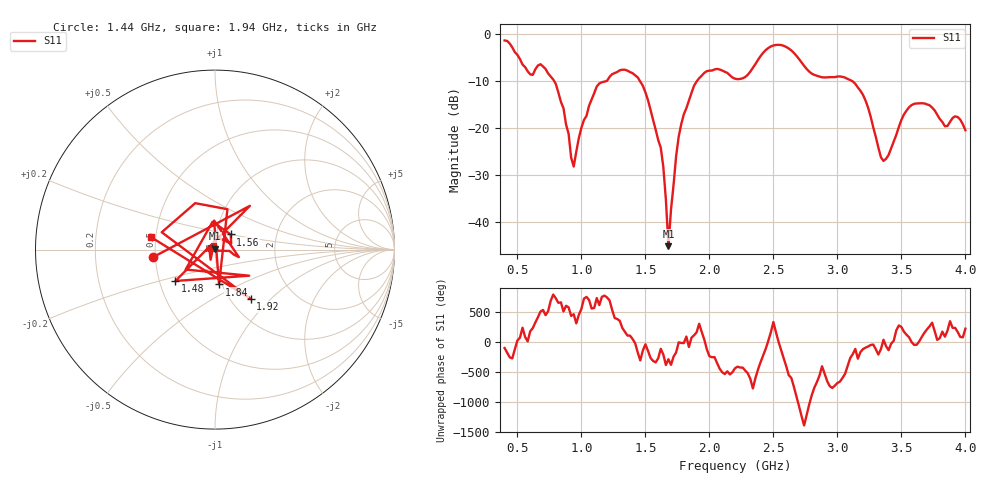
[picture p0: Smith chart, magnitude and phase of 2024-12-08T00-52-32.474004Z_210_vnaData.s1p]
!Created with skrf (http://scikit-rf.org).
# Hz S RI R 50.0
!freq ReS11 ImS11
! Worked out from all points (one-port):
!   181 points, 400 MHz to 4 GHz, reference 50 ohm
!   lowest |S11| = -45.2 dB at 1.68 GHz (marker M1), VSWR 1.01, Z = 50.2 + j0.524 ohm
!   |S11| at or under -10 dB: 786.5 MHz to 1.197 GHz (410.9 MHz wide, 41.4 % of centre); 1.457 GHz to 1.903 GHz (446 MHz wide, 26.5 % of centre); 3.114 GHz to end of sweep
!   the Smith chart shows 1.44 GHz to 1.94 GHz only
!   S11 on the Smith chart (normalised r, x): 1.44 GHz: 0.49, -0.05; 1.48 GHz: 0.61, -0.23; 1.56 GHz: 1.17, +0.20; 1.84 GHz: 0.97, -0.39; 1.92 GHz: 1.23, -0.76; 1.94 GHz: 0.47, +0.07
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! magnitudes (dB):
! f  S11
! 400 MHz  -1.4
! 600 MHz  -8.6
! 720 MHz  -7.4
! 860 MHz  -15.8
! 940 MHz  -28.2
! 1 GHz  -20.0
! 1.12 GHz  -11.2
! 1.3 GHz  -7.7
! 1.44 GHz  -9.2
! 1.48 GHz  -11.0
! 1.56 GHz  -18.3
! 1.64 GHz  -28.3
! 1.68 GHz  -45.2
! 1.76 GHz  -21.9
! 1.84 GHz  -14.2
! 1.92 GHz  -9.4
! 1.94 GHz  -8.9
! 2.2 GHz  -9.5
! 2.48 GHz  -2.6
! 2.66 GHz  -4.0
! 2.82 GHz  -8.7
! 3.1 GHz  -9.8
! 3.22 GHz  -14.2
! 3.36 GHz  -27.1
! 3.56 GHz  -15.6
! 3.72 GHz  -15.2
! 3.84 GHz  -19.7
! 4 GHz  -20.5
